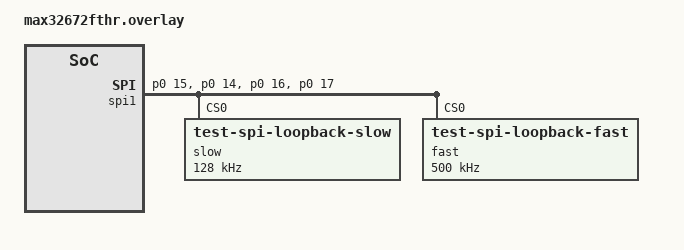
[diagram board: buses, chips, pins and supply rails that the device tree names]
/*
 * Copyright (c) 2024 Analog Devices, Inc.
 *
 * SPDX-License-Identifier: Apache-2.0
 */

&spi1 {
	status = "okay";
	pinctrl-0 = <&spi1a_mosi_p0_15 &spi1a_miso_p0_14 &spi1a_sck_p0_16 &spi1a_ss0_p0_17>;
	pinctrl-names = "default";

	dmas = <&dma0 1 MAX32_DMA_SLOT_SPI1_TX>, <&dma0 2 MAX32_DMA_SLOT_SPI1_RX>;
	dma-names = "tx", "rx";

	slow@0 {
		compatible = "test-spi-loopback-slow";
		reg = <0>;
		spi-max-frequency = <128000>;
	};
	fast@0 {
		compatible = "test-spi-loopback-fast";
		reg = <0>;
		spi-max-frequency = <500000>;
	};
};
